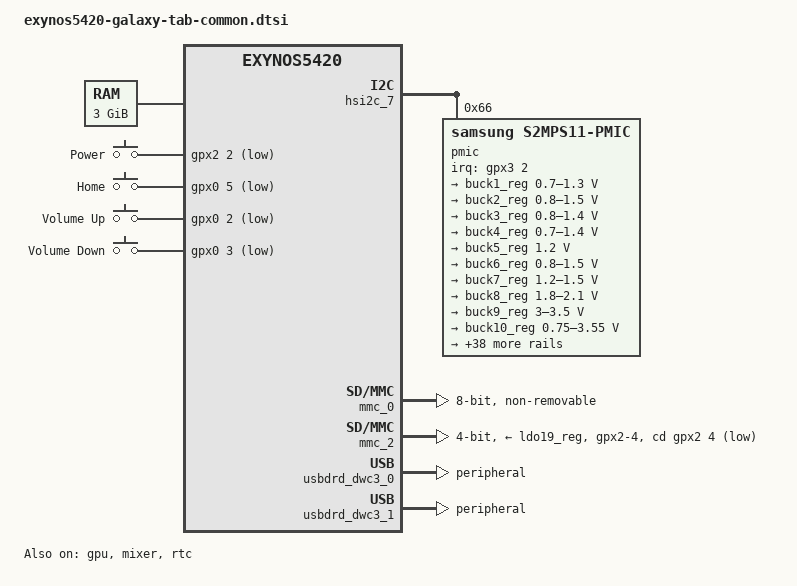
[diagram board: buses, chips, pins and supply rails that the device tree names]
// SPDX-License-Identifier: GPL-2.0
/*
 * Base DT for Samsung's family of tablets based on Exynos5420.
 *
 * Copyright (c) 2012-2013 Samsung Electronics Co., Ltd.
 *		http://www.samsung.com
 * Copyright (c) 2022 Henrik Grimler
 */

/dts-v1/;
#include "exynos5420.dtsi"
#include "exynos5420-cpus.dtsi"
#include <dt-bindings/input/input.h>
#include <dt-bindings/gpio/gpio.h>
#include <dt-bindings/clock/samsung,s2mps11.h>

/ {
	chassis-type = "tablet";

	/*
	 * To successfully boot the mainline kernel with the stock
	 * bootloader (SBOOT), the tlb needs to be flushed after the
	 * page table pointer has been updated in __common_mmu_cache_on.
	 * The same hack is also needed to boot exynos4412-i9300 with
	 * stock bootloader, and probably other Samsung devices of
	 * similar age.  See
	 * https://lore.kernel.org/all/1355276466-18295-1-git-send-email-arve@android.com
	 * for more details.
	 */

	aliases {
		mmc0 = &mmc_0;
		mmc2 = &mmc_2;
	};

	chosen {
		stdout-path = "serial2:115200n8";
	};

	memory@20000000 {
		device_type = "memory";
		reg = <0x20000000 0xc0000000>;
	};

	firmware@2073000 {
		compatible = "samsung,secure-firmware";
		reg = <0x02073000 0x1000>;
	};

	fixed-rate-clocks {
		oscclk {
			compatible = "samsung,exynos5420-oscclk";
			clock-frequency = <24000000>;
		};
	};

	gpio-keys {
		compatible = "gpio-keys";

		key-power {
			debounce-interval = <10>;
			gpios = <&gpx2 2 GPIO_ACTIVE_LOW>;
			label = "Power";
			linux,code = <KEY_POWER>;
			wakeup-source;
		};

		key-home {
			debounce-interval = <10>;
			gpios = <&gpx0 5 GPIO_ACTIVE_LOW>;
			label = "Home";
			linux,code = <KEY_HOME>;
			wakeup-source;
		};

		key-volume-up {
			debounce-interval = <10>;
			gpios = <&gpx0 2 GPIO_ACTIVE_LOW>;
			label = "Volume Up";
			linux,code = <KEY_VOLUMEUP>;
		};

		key-volume-down {
			debounce-interval = <10>;
			gpios = <&gpx0 3 GPIO_ACTIVE_LOW>;
			label = "Volume Down";
			linux,code = <KEY_VOLUMEDOWN>;
		};
	};
};

&cci {
	/* CCI is disabled in hardware */
	status = "disabled";
};

&cpu0 {
	cpu-supply = <&buck2_reg>;
};

&cpu4 {
	cpu-supply = <&buck6_reg>;
};

&gpu {
	status = "okay";
	mali-supply = <&buck4_reg>;
};

&hsi2c_7 {
	status = "okay";

	pmic@66 {
		compatible = "samsung,s2mps11-pmic";
		reg = <0x66>;

		interrupt-parent = <&gpx3>;
		interrupts = <2 IRQ_TYPE_LEVEL_LOW>;
		pinctrl-names = "default";
		pinctrl-0 = <&s2mps11_irq>;

		s2mps11_osc: clocks {
			compatible = "samsung,s2mps11-clk";
			#clock-cells = <1>;
			clock-output-names = "s2mps11_ap", "s2mps11_cp",
					     "s2mps11_bt";
		};

		regulators {
			buck1_reg: BUCK1 {
				regulator-name = "VDD_MIF_1V1";
				regulator-min-microvolt = <700000>;
				regulator-max-microvolt = <1300000>;
				regulator-always-on;
				regulator-boot-on;

				regulator-state-mem {
					regulator-off-in-suspend;
				};
			};

			buck2_reg: BUCK2 {
				regulator-name = "VDD_ARM_1V0";
				regulator-min-microvolt = <800000>;
				regulator-max-microvolt = <1500000>;
				regulator-always-on;
				regulator-boot-on;

				regulator-state-mem {
					regulator-off-in-suspend;
				};
			};

			buck3_reg: BUCK3 {
				regulator-name = "VDD_INT_1V0";
				regulator-min-microvolt = <800000>;
				regulator-max-microvolt = <1400000>;
				regulator-always-on;
				regulator-boot-on;

				regulator-state-mem {
					regulator-off-in-suspend;
				};
			};

			buck4_reg: BUCK4 {
				regulator-name = "VDD_G3D_1V0";
				regulator-min-microvolt = <700000>;
				regulator-max-microvolt = <1400000>;
				regulator-always-on;
				regulator-boot-on;

				regulator-state-mem {
					regulator-off-in-suspend;
				};
			};

			buck5_reg: BUCK5 {
				regulator-name = "VDD_MEM_1V2";
				regulator-min-microvolt = <1200000>;
				regulator-max-microvolt = <1200000>;
				regulator-always-on;
				regulator-boot-on;

				regulator-state-mem {
					regulator-off-in-suspend;
				};

			};

			buck6_reg: BUCK6 {
				regulator-name = "VDD_KFC_1V0";
				regulator-min-microvolt = <800000>;
				regulator-max-microvolt = <1500000>;
				regulator-always-on;
				regulator-boot-on;

				regulator-state-mem {
					regulator-off-in-suspend;
				};
			};

			buck7_reg: BUCK7 {
				regulator-name = "VIN_LLDO_1V4";
				regulator-min-microvolt = <1200000>;
				regulator-max-microvolt = <1500000>;
				regulator-always-on;
			};

			buck8_reg: BUCK8 {
				regulator-name = "VIN_MLDO_2V0";
				regulator-min-microvolt = <1800000>;
				regulator-max-microvolt = <2100000>;
				regulator-always-on;
			};

			buck9_reg: BUCK9 {
				regulator-name = "VIN_HLDO_3V5";
				regulator-min-microvolt = <3000000>;
				regulator-max-microvolt = <3500000>;
				regulator-always-on;
			};

			buck10_reg: BUCK10 {
				regulator-name = "VDD_CAM_ISP_1V0";
				regulator-min-microvolt = <750000>;
				regulator-max-microvolt = <3550000>;
			};

			ldo1_reg: LDO1 {
				regulator-name = "VDD_ALIVE_1.0V";
				regulator-min-microvolt = <1000000>;
				regulator-max-microvolt = <1000000>;
				regulator-always-on;
			};

			ldo2_reg: LDO2 {
				regulator-name = "VDD_APIO_1V8";
				regulator-min-microvolt = <1800000>;
				regulator-max-microvolt = <1800000>;
				regulator-always-on;
				regulator-boot-on;

				regulator-state-mem {
					regulator-on-in-suspend;
				};
			};

			ldo3_reg: LDO3 {
				regulator-name = "VDD_APIO_MMC01_1V8";
				regulator-min-microvolt = <1800000>;
				regulator-max-microvolt = <1800000>;
				regulator-always-on;

				regulator-state-mem {
					regulator-off-in-suspend;
				};
			};

			ldo4_reg: LDO4 {
				regulator-name = "VDD_ADC_1V8";
				regulator-min-microvolt = <1800000>;
				regulator-max-microvolt = <1800000>;
				regulator-always-on;
				regulator-boot-on;

				regulator-state-mem {
					regulator-on-in-suspend;
				};
			};

			ldo5_reg: LDO5 {
				/* Unused */
				regulator-name = "VDD_LDO5";
				regulator-min-microvolt = <1800000>;
				regulator-max-microvolt = <1800000>;
			};

			ldo6_reg: LDO6 {
				regulator-name = "VDD_MIPI_1V0";
				regulator-min-microvolt = <1000000>;
				regulator-max-microvolt = <1000000>;
				regulator-always-on;
				regulator-boot-on;

				regulator-state-mem {
					regulator-off-in-suspend;
				};
			};

			ldo7_reg: LDO7 {
				regulator-name = "VDD_MIPI_PLL_ABB1_18V";
				regulator-min-microvolt = <1800000>;
				regulator-max-microvolt = <1800000>;
				regulator-always-on;
				regulator-boot-on;

				regulator-state-mem {
					regulator-off-in-suspend;
				};
			};

			ldo8_reg: LDO8 {
				/* Unused */
				regulator-name = "VDD_LDO8";
				regulator-min-microvolt = <1800000>;
				regulator-max-microvolt = <1800000>;
			};

			ldo9_reg: LDO9 {
				regulator-name = "VDD_UOTG_3V0";
				regulator-min-microvolt = <3000000>;
				regulator-max-microvolt = <3000000>;
				regulator-always-on;
				regulator-boot-on;

				regulator-state-mem {
					regulator-on-in-suspend;
				};
			};

			ldo10_reg: LDO10 {
				regulator-name = "VDDQ_PRE_1V8";
				regulator-min-microvolt = <1800000>;
				regulator-max-microvolt = <1800000>;
				regulator-always-on;
				regulator-boot-on;

				regulator-state-mem {
					regulator-on-in-suspend;
				};
			};

			ldo11_reg: LDO11 {
				regulator-name = "VDD_HSIC_1V0";
				regulator-min-microvolt = <1000000>;
				regulator-max-microvolt = <1000000>;
				regulator-always-on;
				regulator-boot-on;

				regulator-state-mem {
					regulator-on-in-suspend;
				};
			};

			ldo12_reg: LDO12 {
				regulator-name = "VDD_HSIC_1V8";
				regulator-min-microvolt = <1800000>;
				regulator-max-microvolt = <1800000>;
				regulator-always-on;
				regulator-boot-on;

				regulator-state-mem {
					regulator-on-in-suspend;
				};
			};

			ldo13_reg: LDO13 {
				regulator-name = "VDD_APIO_MMC2_2V8";
				regulator-min-microvolt = <1800000>;
				regulator-max-microvolt = <2800000>;
				regulator-boot-on;

				regulator-state-mem {
					regulator-off-in-suspend;
				};
			};

			ldo14_reg: LDO14 {
				regulator-name = "VDD_MOTOR_3V0";
				regulator-min-microvolt = <3000000>;
				regulator-max-microvolt = <3000000>;

				regulator-state-mem {
					regulator-off-in-suspend;
				};
			};

			ldo15_reg: LDO15 {
				regulator-name = "VDD_LDO15";
				/*
				 * LDO15 varies between devices and is
				 * specified in the device dts
				 */
			};

			ldo16_reg: LDO16 {
				regulator-name = "VDD_AP_2V8";
				regulator-min-microvolt = <2800000>;
				regulator-max-microvolt = <2800000>;
				regulator-always-on;
				regulator-boot-on;

				regulator-state-mem {
					regulator-on-in-suspend;
				};
			};

			ldo17_reg: LDO17 {
				regulator-name = "VDD_LDO17";
				/*
				 * LDO17 varies between devices and is
				 * specified in the device dts
				 */
			};

			ldo18_reg: LDO18 {
				/* Unused */
				regulator-name = "VDD_LDO18";
				regulator-min-microvolt = <1800000>;
				regulator-max-microvolt = <1800000>;
			};

			ldo19_reg: LDO19 {
				regulator-name = "VDD_VTF_2V8";
				regulator-min-microvolt = <2800000>;
				regulator-max-microvolt = <2800000>;

				regulator-state-mem {
					regulator-off-in-suspend;
				};
			};

			ldo20_reg: LDO20 {
				regulator-name = "VDD_CAM1_CAM_1V8";
				regulator-min-microvolt = <1800000>;
				regulator-max-microvolt = <1800000>;

				regulator-state-mem {
					regulator-off-in-suspend;
				};
			};

			ldo21_reg: LDO21 {
				regulator-name = "VDD_CAM_IO_1V8";
				regulator-min-microvolt = <1800000>;
				regulator-max-microvolt = <1800000>;

				regulator-state-mem {
					regulator-off-in-suspend;
				};
			};

			ldo22_reg: LDO22 {
				regulator-name = "VDD_CAM0_S_CORE_1V1";
				regulator-min-microvolt = <1050000>;
				regulator-max-microvolt = <1200000>;

				regulator-state-mem {
					regulator-off-in-suspend;
				};
			};

			ldo23_reg: LDO23 {
				regulator-name = "VDD_MIFS_1V1";
				regulator-min-microvolt = <800000>;
				regulator-max-microvolt = <1100000>;
				regulator-always-on;

				regulator-state-mem {
					regulator-on-in-suspend;
				};
			};

			ldo24_reg: LDO24 {
				regulator-name = "VDD_TSP_3V3";
				regulator-min-microvolt = <3300000>;
				regulator-max-microvolt = <3300000>;

				regulator-state-mem {
					regulator-off-in-suspend;
				};
			};

			ldo25_reg: LDO25 {
				/* Unused */
				regulator-name = "VDD_LDO25";
				regulator-min-microvolt = <800000>;
				regulator-max-microvolt = <3950000>;
			};

			ldo26_reg: LDO26 {
				regulator-name = "VDD_CAM0_AF_2V8";
				regulator-min-microvolt = <2800000>;
				regulator-max-microvolt = <2800000>;

				regulator-state-mem {
					regulator-off-in-suspend;
				};
			};

			ldo27_reg: LDO27 {
				regulator-name = "VDD_G3DS_1V0";
				regulator-min-microvolt = <800000>;
				regulator-max-microvolt = <1000000>;
				regulator-always-on;

				regulator-state-mem {
					regulator-on-in-suspend;
				};
			};

			ldo28_reg: LDO28 {
				regulator-name = "VDD_LDO28";
				/*
				 * LDO28 varies between devices and is
				 * specified in the device dts
				 */
			};

			ldo29_reg: LDO29 {
				regulator-name = "VDD_LDO29";
				/*
				 * LDO29 varies between devices and is
				 * specified in the device dts
				 */
			};

			ldo30_reg: LDO30 {
				regulator-name = "VDD_TOUCH_1V8";
				regulator-min-microvolt = <1900000>;
				regulator-max-microvolt = <1900000>;

				regulator-state-mem {
					regulator-off-in-suspend;
				};
			};

			ldo31_reg: LDO31 {
				regulator-name = "VDD_LDO31";
				/*
				 * LDO31 varies between devices and is
				 * specified in the device dts
				 */
			};

			ldo32_reg: LDO32 {
				regulator-name = "VDD_LDO32";
				/*
				 * LDO32 varies between devices and is
				 * specified in the device dts
				 */
			};

			ldo33_reg: LDO33 {
				regulator-name = "VDD_MHL_1V8";
				regulator-min-microvolt = <1800000>;
				regulator-max-microvolt = <1800000>;

				regulator-state-mem {
					regulator-off-in-suspend;
				};
			};

			ldo34_reg: LDO34 {
				regulator-name = "VDD_MHL_3V3";
				regulator-min-microvolt = <3300000>;
				regulator-max-microvolt = <3300000>;

				regulator-state-mem {
					regulator-off-in-suspend;
				};
			};

			ldo35_reg: LDO35 {
				regulator-name = "VDD_SIL_1V2";
				regulator-min-microvolt = <1200000>;
				regulator-max-microvolt = <1200000>;

				regulator-state-mem {
					regulator-off-in-suspend;
				};
			};

			ldo36_reg: LDO36 {
				/* Unused */
				regulator-name = "VDD_LDO36";
				regulator-min-microvolt = <800000>;
				regulator-max-microvolt = <3950000>;
			};

			ldo37_reg: LDO37 {
				/* Unused */
				regulator-name = "VDD_LDO37";
				regulator-min-microvolt = <800000>;
				regulator-max-microvolt = <3950000>;
			};

			ldo38_reg: LDO38 {
				regulator-name = "VDD_KEY_LED_3V3";
				regulator-min-microvolt = <2500000>;
				regulator-max-microvolt = <3300000>;

				regulator-state-mem {
					regulator-off-in-suspend;
				};
			};
		};
	};
};

&mixer {
	status = "okay";
};

/* Internal storage */
&mmc_0 {
	status = "okay";
	bus-width = <8>;
	cap-mmc-highspeed;
	card-detect-delay = <200>;
	mmc-ddr-1_8v;
	mmc-hs200-1_8v;
	non-removable;
	pinctrl-0 = <&sd0_clk &sd0_cmd &sd0_bus1 &sd0_bus4 &sd0_bus8>;
	pinctrl-names = "default";
	samsung,dw-mshc-ciu-div = <3>;
	samsung,dw-mshc-ddr-timing = <0 2>;
	samsung,dw-mshc-sdr-timing = <0 4>;
	vqmmc-supply = <&ldo3_reg>;
};

/* External sdcard */
&mmc_2 {
	status = "okay";
	bus-width = <4>;
	cap-sd-highspeed;
	card-detect-delay = <200>;
	cd-gpios = <&gpx2 4 GPIO_ACTIVE_LOW>;
	pinctrl-0 = <&sd2_clk &sd2_cmd &mmc2_cd &sd2_bus1 &sd2_bus4>;
	pinctrl-names = "default";
	samsung,dw-mshc-ciu-div = <3>;
	samsung,dw-mshc-ddr-timing = <0 2>;
	samsung,dw-mshc-sdr-timing = <0 4>;
	sd-uhs-sdr50;
	vmmc-supply = <&ldo19_reg>;
	vqmmc-supply = <&ldo13_reg>;
};

&pinctrl_0 {
	mmc2_cd: mmc2-cd-pins {
		samsung,pins = "gpx2-4";
		samsung,pin-pud = <EXYNOS_PIN_PULL_NONE>;
	};

	s2mps11_irq: s2mps11-irq-pins {
		samsung,pins = "gpx3-0";
		samsung,pin-function = <EXYNOS_PIN_FUNC_F>;
		samsung,pin-pud = <EXYNOS_PIN_PULL_NONE>;
		samsung,pin-drv = <EXYNOS5420_PIN_DRV_LV1>;
	};
};

&rtc {
	status = "okay";
	clocks = <&clock CLK_RTC>, <&s2mps11_osc S2MPS11_CLK_AP>;
	clock-names = "rtc", "rtc_src";
};

&tmu_cpu0 {
	vtmu-supply = <&ldo10_reg>;
};

&tmu_cpu1 {
	vtmu-supply = <&ldo10_reg>;
};

&tmu_cpu2 {
	vtmu-supply = <&ldo10_reg>;
};

&tmu_cpu3 {
	vtmu-supply = <&ldo10_reg>;
};

&tmu_gpu {
	vtmu-supply = <&ldo10_reg>;
};

&usbdrd_dwc3_0 {
	dr_mode = "peripheral";
};

&usbdrd_dwc3_1 {
	dr_mode = "peripheral";
};

&usbdrd3_0 {
	vdd33-supply = <&ldo9_reg>;
	vdd10-supply = <&ldo11_reg>;
};

&usbdrd3_1 {
	vdd33-supply = <&ldo9_reg>;
	vdd10-supply = <&ldo11_reg>;
};
